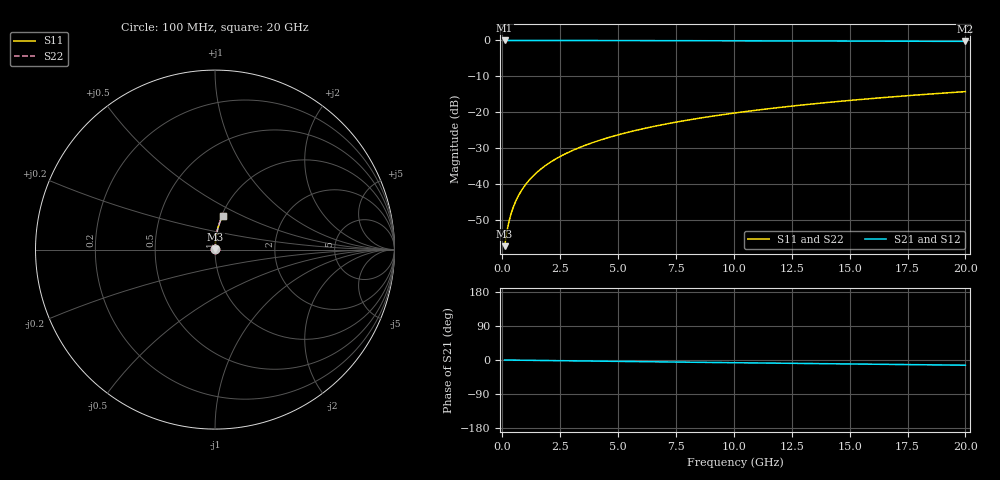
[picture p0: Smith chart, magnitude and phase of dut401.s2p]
! Touchstone file exported from HFSS 2024.1.0
!  File:  C:/UserFiles/LocalFiles/RDL_TSV_Batchsim/temp_RDL_top_401_1779675202.aedt
!  Generated:  10:15:58 AM May 25, 2026
!  Design:  RDL_top
!  Project:  temp_RDL_top_401_1779675202
!  Setup:  Setup1
!  Solution:  Sweep
! Variables:
!  dtsv = 10.80580581um
!  hbump = 3um
!  htsv = 50.78um
!  ldown = 100um
!  lrdl = 126.67um
!  p = 40
!  p1 = 56.05um
!  rhole = 1um
!  t = 450um
!  tdown = 3.915915916um
!  trdl = 4.95um
!  wdown = 15.38538539um
!  wrdl = 11.08um
# GHz S MA R 50.000000
! Terminal data exported
! Port[1] = Box2_T1
! Port[2] = Box2_T2
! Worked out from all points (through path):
!   200 points, 100 MHz to 20 GHz, reference 50 ohm
!   highest |S21| = -0.01 dB at 100 MHz (marker M1); lowest = -0.3 dB at 20 GHz (marker M2)
!   group delay of S21, straight-line fit = 1.9 ps
!   lowest |S11| = -57.4 dB at 100 MHz (marker M3), VSWR 1.00, Z = 50.1 + j0.0986 ohm
!   |S11| at or under -10 dB: start of sweep to end of sweep
!   |S22| runs from -57.4 to -14.3 dB; largest |S21 - S12| = 2.6e-15
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0.1  0.001351 46.8  0.9991 -0.1  0.9991 -0.1  0.001351 46.8
! Gamma 0 0 0 0
! Port Impedance 50 0 50 0
0.2  0.002177 64.4  0.9991 -0.2  0.9991 -0.2  0.002177 64.4
0.3  0.003086 71.8  0.999 -0.2  0.999 -0.2  0.003086 71.8
0.4  0.004018 75.8  0.999 -0.3  0.999 -0.3  0.004018 75.8
0.5  0.004959 78.3  0.999 -0.4  0.999 -0.4  0.004959 78.3
0.7  0.006852 81.3  0.9989 -0.5  0.9989 -0.5  0.006852 81.3
0.8  0.007802 82.2  0.9989 -0.6  0.9989 -0.6  0.007802 82.2
1  0.009708 83.5  0.9988 -0.7  0.9988 -0.7  0.009708 83.5
1.2  0.01162 84.4  0.9988 -0.9  0.9988 -0.9  0.01162 84.4
1.4  0.01353 85.0  0.9987 -1.0  0.9987 -1.0  0.01353 85.0
1.7  0.01641 85.5  0.9985 -1.3  0.9985 -1.3  0.01641 85.5
2  0.01929 85.9  0.9984 -1.5  0.9984 -1.5  0.01929 85.9
2.7  0.02601 86.3  0.9979 -2.0  0.9979 -2.0  0.02601 86.3
3.5  0.03372 86.4  0.9972 -2.6  0.9972 -2.6  0.03372 86.4
4.2  0.04047 86.3  0.9965 -3.1  0.9965 -3.1  0.04047 86.3
5  0.04821 86.1  0.9956 -3.7  0.9956 -3.7  0.04821 86.1
6.8  0.0657 85.4  0.9932 -4.9  0.9932 -4.9  0.0657 85.4
8.3  0.08033 84.7  0.9911 -6.0  0.9911 -6.0  0.08033 84.7
10.1  0.09792 83.7  0.9883 -7.2  0.9883 -7.2  0.09792 83.7
13.4  0.1301 81.7  0.9828 -9.4  0.9828 -9.4  0.1301 81.7
16.7  0.1619 79.5  0.9766 -11.6  0.9766 -11.6  0.1619 79.5
20  0.1932 77.3  0.9698 -13.8  0.9698 -13.8  0.1932 77.3
